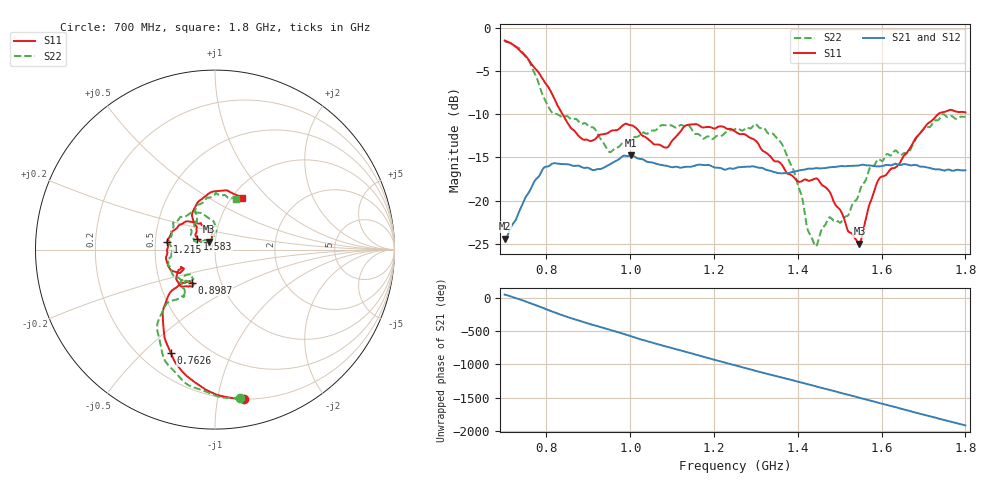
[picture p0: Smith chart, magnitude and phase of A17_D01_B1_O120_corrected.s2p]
! Created with skrf 1.9.0 (http://scikit-rf.org).
# Hz S RI R 50.0
!freq ReS11 ImS11 ReS21 ImS21 ReS12 ImS12 ReS22 ImS22
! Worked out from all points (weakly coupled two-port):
!   1601 points, 700 MHz to 1.8 GHz, reference 50 ohm
!   highest |S21| = -14.74 dB at 1.002 GHz (marker M1); lowest = -24.4 dB at 700 MHz (marker M2)
!   lowest |S11| = -25.0 dB at 1.547 GHz (marker M3), VSWR 1.12, Z = 46.4 + j4.08 ohm
!   |S11| at or under -10 dB: 838.5 MHz to 1.734 GHz (895.5 MHz wide, 69.6 % of centre)
!   |S22| runs from -25.3 to -1.5 dB; largest |S21 - S12| = 0.0037
!   S11 on the Smith chart (normalised r, x): 700 MHz: 0.20, -1.19; 762.6 MHz: 0.32, -0.61; 898.7 MHz: 0.73, -0.28; 1.215 GHz: 0.58, +0.05; 1.583 GHz: 0.82, +0.10; 1.8 GHz: 1.11, +0.71
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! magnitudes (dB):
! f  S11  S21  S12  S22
! 700 MHz  -1.4  -24.4  -24.2  -1.5
! 762.6 MHz  -4.1  -18.6  -18.6  -4.3
! 812.1 MHz  -7.5  -15.8  -15.7  -9.7
! 883.6 MHz  -12.8  -16.1  -16.0  -11.1
! 898.7 MHz  -13.0  -16.2  -16.2  -11.3
! 950.9 MHz  -12.0  -15.8  -15.8  -14.4
! 1.002 GHz  -11.3  -14.7  -14.9  -12.9
! 1.067 GHz  -13.5  -15.8  -15.7  -11.5
! 1.137 GHz  -11.2  -16.1  -16.1  -11.4
! 1.215 GHz  -11.4  -16.2  -16.2  -12.5
! 1.25 GHz  -12.0  -16.3  -16.2  -11.7
! 1.359 GHz  -15.7  -16.8  -16.8  -13.2
! 1.392 GHz  -17.4  -16.6  -16.6  -16.7
! 1.434 GHz  -17.6  -16.3  -16.3  -24.4
! 1.473 GHz  -18.8  -16.2  -16.2  -22.1
! 1.517 GHz  -23.2  -16.0  -16.0  -21.8
! 1.547 GHz  -25.0  -15.9  -15.9  -19.0
! 1.583 GHz  -18.7  -16.0  -16.0  -15.8
! 1.617 GHz  -16.6  -15.9  -15.9  -14.7
! 1.663 GHz  -14.3  -15.8  -15.9  -14.5
! 1.735 GHz  -10.0  -16.4  -16.4  -10.7
! 1.8 GHz  -9.8  -16.5  -16.5  -10.3
